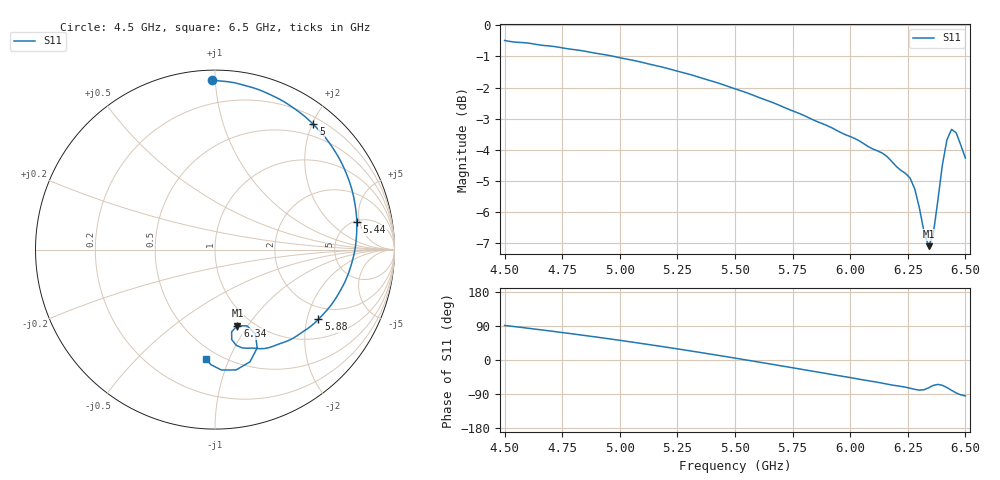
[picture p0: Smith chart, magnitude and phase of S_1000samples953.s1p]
! TOUCHSTONE file generated by CST MICROWAVE STUDIO
! Date and time: Sat Oct 29 22:00:08 2022
! Project name: L.cst
! Parameters = {Di=1.27; Epsilon_r=1.56; InnerDiameter=1.27; Length=2; Lf=10; Lg=60; OuterConductorThickness=0.2921; OuterDiameter=3.6; Wf=3; Wp=41.2; de=1.5; df=6.8; g=0.8; gx=0.880389; gy=4.08744; h=2.34; hf=1.524; px=8.15122; py=14.1589; w=9.7; wx=7.27083; wy=10.0715}
! Header version: 2018
! Port assignment regex: !\s*Touchstone port\s*([0-9]+)\s*=\s*(CST MWS port|CST DS port)\s*([0-9]+|Zmin|Zmax)\s*\(\"(.*)\"\)(\s*mode\s*([0-9]+))?.*
! Touchstone port assignment:
! Touchstone port 1 = CST MWS port 1 ("")
# GHz S DB R 50
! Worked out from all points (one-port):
!   101 points, 4.5 GHz to 6.5 GHz, reference 50 ohm
!   lowest |S11| = -7.1 dB at 6.34 GHz (marker M1), VSWR 2.58, Z = 42.5 - j44.8 ohm
!   |S11| at or under -10 dB: nowhere
!   S11 on the Smith chart (normalised r, x): 4.5 GHz: 0.05, +0.98; 5 GHz: 0.31, +2.02; 5.44 GHz: 5.22, +4.54; 5.88 GHz: 1.57, -2.35; 6.34 GHz: 0.85, -0.90; 6.5 GHz: 0.42, -0.83
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4.5  -0.49 91.2
4.62  -0.59 82.4
4.76  -0.74 71.7
4.88  -0.88 62.0
5  -1.04 51.9
5.14  -1.27 39.5
5.26  -1.49 28.4
5.34  -1.66 20.7
5.44  -1.89 11.0
5.5  -2.04 5.0
5.64  -2.42 -9.2
5.76  -2.77 -21.5
5.88  -3.16 -34.0
6  -3.57 -46.4
6.14  -4.10 -61.2
6.26  -4.91 -74.5
6.28  -5.25 -77.5
6.3  -5.85 -79.5
6.32  -6.61 -78.6
6.34  -7.09 -73.6
6.36  -6.73 -67.2
6.38  -5.65 -64.4
6.4  -4.49 -66.8
6.42  -3.67 -72.7
6.44  -3.34 -80.0
6.46  -3.45 -86.9
6.48  -3.85 -91.9
6.5  -4.26 -94.7
